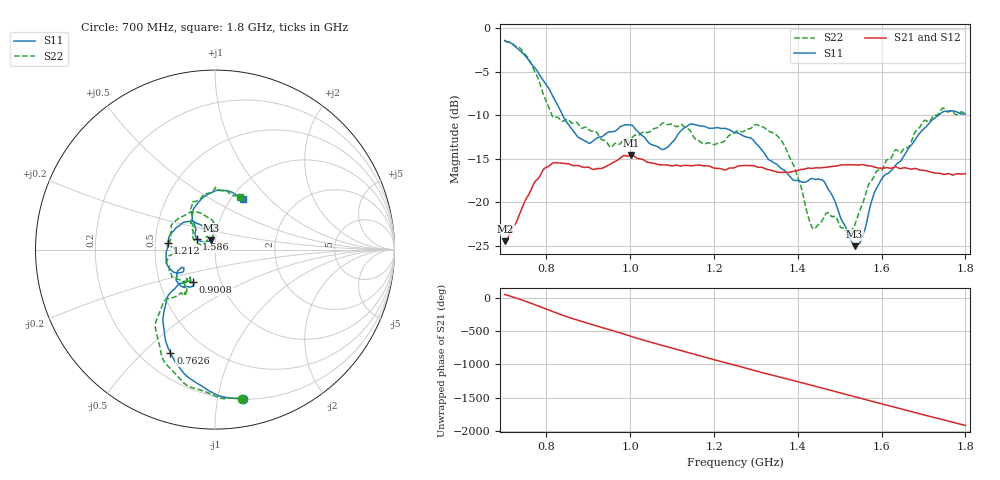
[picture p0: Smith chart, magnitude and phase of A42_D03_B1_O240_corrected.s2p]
! Created with skrf 1.9.0 (http://scikit-rf.org).
# Hz S RI R 50.0
!freq ReS11 ImS11 ReS21 ImS21 ReS12 ImS12 ReS22 ImS22
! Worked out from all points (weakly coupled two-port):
!   1601 points, 700 MHz to 1.8 GHz, reference 50 ohm
!   highest |S21| = -14.59 dB at 1.002 GHz (marker M1); lowest = -24.5 dB at 701.4 MHz (marker M2)
!   lowest |S11| = -25.0 dB at 1.535 GHz (marker M3), VSWR 1.12, Z = 47.6 + j4.94 ohm
!   |S11| at or under -10 dB: 838.4 MHz to 1.736 GHz (897.3 MHz wide, 69.7 % of centre)
!   |S22| runs from -23.7 to -1.5 dB; largest |S21 - S12| = 0.0035
!   S11 on the Smith chart (normalised r, x): 700 MHz: 0.20, -1.19; 762.6 MHz: 0.32, -0.61; 900.8 MHz: 0.74, -0.28; 1.212 GHz: 0.58, +0.05; 1.586 GHz: 0.81, +0.10; 1.8 GHz: 1.13, +0.71
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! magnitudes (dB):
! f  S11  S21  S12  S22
! 700 MHz  -1.4  -24.5  -24.3  -1.5
! 701.4 MHz  -1.5  -24.5  -24.1  -1.5
! 762.6 MHz  -4.1  -18.6  -18.6  -4.0
! 814.8 MHz  -7.8  -15.5  -15.6  -10.2
! 883.6 MHz  -12.7  -15.9  -15.8  -11.5
! 900.8 MHz  -13.2  -16.0  -16.0  -11.6
! 953 MHz  -11.9  -15.6  -15.6  -13.7
! 1.002 GHz  -11.1  -14.6  -14.7  -12.7
! 1.067 GHz  -13.7  -15.7  -15.6  -11.4
! 1.143 GHz  -11.0  -15.8  -15.8  -11.8
! 1.212 GHz  -11.5  -16.1  -16.1  -13.2
! 1.25 GHz  -12.0  -16.0  -15.9  -12.0
! 1.356 GHz  -15.9  -16.6  -16.5  -12.6
! 1.394 GHz  -17.5  -16.4  -16.4  -16.2
! 1.434 GHz  -17.3  -16.1  -16.1  -22.9
! 1.464 GHz  -17.8  -16.0  -16.0  -21.5
! 1.535 GHz  -25.0  -15.7  -15.7  -22.7
! 1.553 GHz  -24.0  -15.7  -15.7  -20.3
! 1.586 GHz  -18.5  -16.0  -16.0  -16.6
! 1.617 GHz  -16.6  -16.1  -16.0  -15.1
! 1.738 GHz  -9.9  -16.7  -16.7  -9.7
! 1.8 GHz  -9.9  -16.7  -16.7  -9.9
